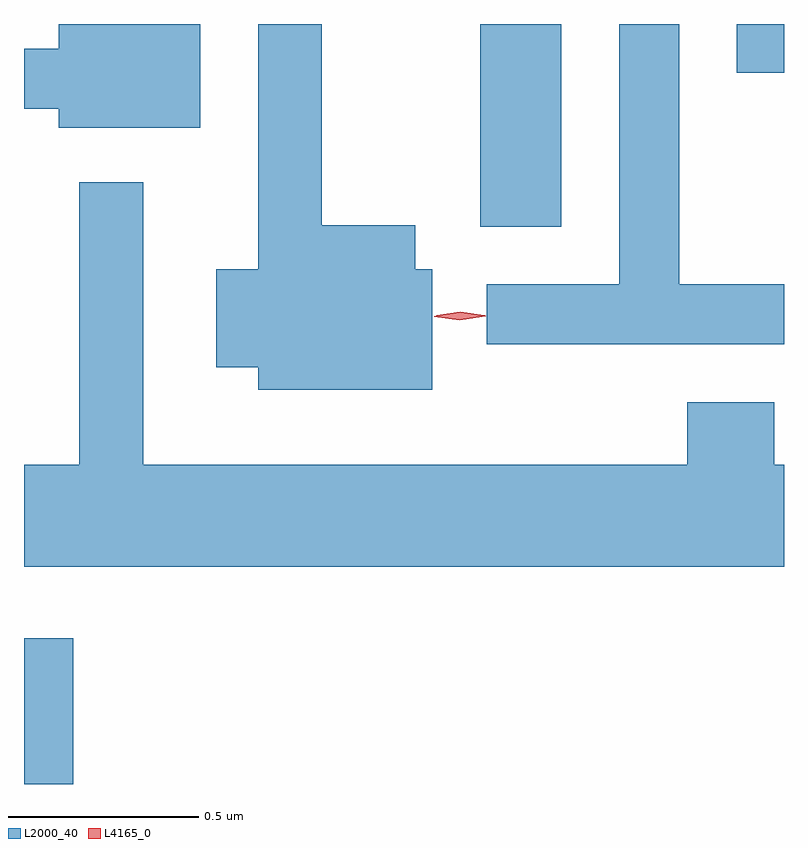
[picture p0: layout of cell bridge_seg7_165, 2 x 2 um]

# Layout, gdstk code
import gdstk
lib = gdstk.Library(unit=1e-6, precision=1e-09)
def R(c, l, rs):  # rectangles x0, y0, x1, y1
    for r in rs: c.add(gdstk.rectangle(r[:2], r[2:], *l))
def P(c, l, *ps):  # polygons
    for p in ps: c.add(gdstk.Polygon(p, *l))
L2000_40 = (2000, 40)
L4165_0 = (4165, 0)

bridge_seg7_165 = lib.new_cell('bridge_seg7_165')
R(bridge_seg7_165, L2000_40, [(1634.155,1718.184,1634.284,1718.568), (1635.356,1719.651,1635.569,1720.184), (1636.031,1720.056,1636.155,1720.184)])
P(bridge_seg7_165, L2000_40, [(1635.229,1719.539),(1635.184,1719.539),(1635.184,1719.654),(1634.939,1719.654),(1634.939,1720.184),(1634.771,1720.184),(1634.771,1719.539),(1634.661,1719.539),(1634.661,1719.281),(1634.771,1719.281),(1634.771,1719.221),(1635.229,1719.221)],
  [(1636.155,1719.499),(1635.879,1719.499),(1635.879,1720.184),(1635.721,1720.184),(1635.721,1719.499),(1635.373,1719.499),(1635.373,1719.341),(1636.155,1719.341)],
  [(1634.619,1720.184),(1634.246,1720.184),(1634.246,1720.119),(1634.155,1720.119),(1634.155,1719.961),(1634.246,1719.961),(1634.246,1719.911),(1634.619,1719.911)],
  [(1636.155,1719.024),(1636.129,1719.024),(1636.129,1719.189),(1635.901,1719.189),(1635.901,1719.024),(1634.469,1719.024),(1634.469,1719.768),(1634.301,1719.768),(1634.301,1719.024),(1634.155,1719.024),(1634.155,1718.756),(1636.155,1718.756)])
P(bridge_seg7_165, L4165_0, [(1635.302,1719.405),(1635.235,1719.414),(1635.234,1719.414),(1635.235,1719.415),(1635.302,1719.425),(1635.37,1719.416),(1635.37,1719.415),(1635.37,1719.415)],
  [(1635.303,1719.407),(1635.241,1719.416),(1635.24,1719.416),(1635.241,1719.417),(1635.303,1719.427),(1635.366,1719.418),(1635.367,1719.418),(1635.366,1719.417)])

lib.write_gds('bridge_seg7_165.gds')
